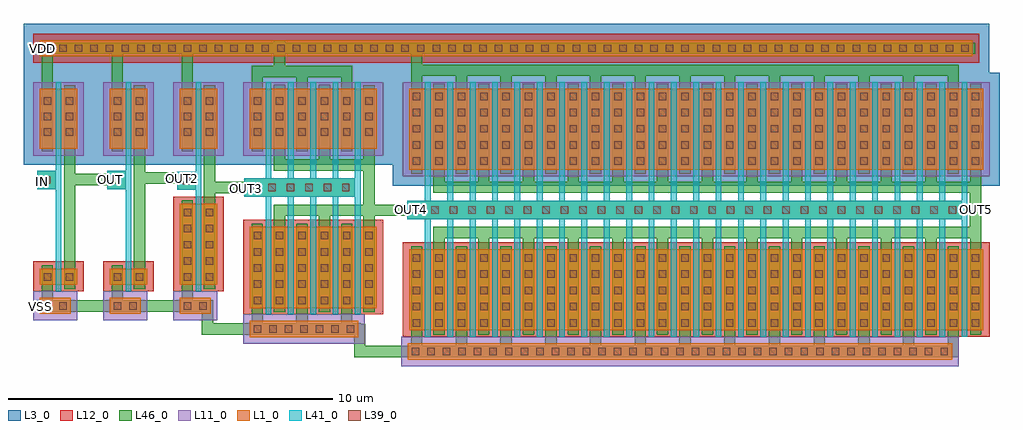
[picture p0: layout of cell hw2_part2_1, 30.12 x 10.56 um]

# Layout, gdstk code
from math import pi, radians
import gdstk
lib = gdstk.Library(unit=1e-6, precision=1e-09)
def R(c, l, rs):  # rectangles x0, y0, x1, y1
    for r in rs: c.add(gdstk.rectangle(r[:2], r[2:], *l))
def A(c, l, x, y, w, h, nx, ny, dx, dy):  # array of equal rectangles
    R(c, l, [(x+i*dx, y+j*dy, x+i*dx+w, y+j*dy+h) for i in range(nx) for j in range(ny)])
L1_0 = (1, 0)
L3_0 = (3, 0)
L11_0 = (11, 0)
L12_0 = (12, 0)
L39_0 = (39, 0)
L41_0 = (41, 0)
L46_0 = (46, 0)

nmos_body = lib.new_cell('nmos_body')
R(nmos_body, L1_0, [(-0.22,-0.185,0.26,0.315)])
R(nmos_body, L11_0, [(-0.42,-0.385,0.46,0.515)])
R(nmos_body, L39_0, [(-0.095,-0.05,0.135,0.18)])
R(nmos_body, L46_0, [(-0.348,-0.11,0.332,0.24)])

pmos_body = lib.new_cell('pmos_body')
R(pmos_body, L1_0, [(-0.305,-0.355,0.175,0.145)])
R(pmos_body, L3_0, [(-0.805,-0.855,0.675,0.645)])
R(pmos_body, L12_0, [(-0.505,-0.555,0.375,0.345)])
R(pmos_body, L39_0, [(-0.18,-0.22,0.05,0.01)])
R(pmos_body, L46_0, [(-0.433,-0.28,0.247,0.07)])

mental1_connect = lib.new_cell('mental1_connect')
R(mental1_connect, L46_0, [(0.875,-0.297,1.225,0.108), (-0.505,-0.292,-0.155,0.108), (-0.505,0.108,1.225,0.458)])

cont = lib.new_cell('CONT')
R(cont, L39_0, [(-0.12,-0.12,0.11,0.11)])
R(cont, L41_0, [(-0.29,-0.29,0.28,0.28)])
R(cont, L46_0, [(-0.29,-0.29,0.28,0.28)])

pmos_small = lib.new_cell('pmos_small')
R(pmos_small, L1_0, [(-0.57,-0.225,0.59,0.275)])
R(pmos_small, L3_0, [(-1.07,-0.725,1.09,0.775)])
R(pmos_small, L11_0, [(-0.77,-0.425,0.79,0.475)])
R(pmos_small, L39_0, [(-0.45,-0.075,-0.22,0.155), (0.24,-0.075,0.47,0.155)])
R(pmos_small, L41_0, [(-0.08,-1.49,0.1,0.475)])
R(pmos_small, L46_0, [(-0.51,-0.347,-0.16,0.428), (0.18,-0.342,0.53,0.423)])

pmos_1850n = lib.new_cell('pmos_1850n')
R(pmos_1850n, L1_0, [(-0.569,-0.995,0.591,0.855)])
R(pmos_1850n, L3_0, [(-1.069,-1.495,1.091,1.355)])
R(pmos_1850n, L11_0, [(-0.769,-1.215,0.791,1.055)])
A(pmos_1850n, L39_0, -0.449, -0.6, 0.23, 0.23, 1, 3, 0, 0.48)
A(pmos_1850n, L39_0, 0.241, -0.6, 0.23, 0.23, 1, 3, 0, 0.48)
R(pmos_1850n, L41_0, [(-0.079,-2.195,0.101,1.055)])
R(pmos_1850n, L46_0, [(-0.509,-1.08,-0.159,0.975), (0.181,-1.08,0.531,0.965)])

nmos_small = lib.new_cell('nmos_small')
R(nmos_small, L1_0, [(-3.8,0.175,-2.64,0.675)])
R(nmos_small, L12_0, [(-4,-0.045,-2.44,0.875)])
R(nmos_small, L39_0, [(-3.68,0.325,-3.45,0.555), (-2.99,0.325,-2.76,0.555)])
R(nmos_small, L41_0, [(-3.31,-1.025,-3.13,0.875)])
R(nmos_small, L46_0, [(-3.74,0.073,-3.39,0.808), (-3.05,0.073,-2.7,0.808)])

hw2_part2_1 = lib.new_cell('hw2_part2_1')
hw2_part2_1.add(gdstk.FlexPath([(-11.91,-1.7),(-11.91,-0.12)], 0.18, ends="flush", simple_path=True, layer=41, datatype=0))  # L41_0
hw2_part2_1.add(gdstk.FlexPath([(-14.07,-1.7),(-14.07,-0.12)], 0.18, ends="flush", simple_path=True, layer=41, datatype=0))  # L41_0
hw2_part2_1.add(gdstk.FlexPath([(-4.83,-0.435),(-4.83,-0.035)], 0.18, ends="flush", simple_path=True, layer=41, datatype=0))  # L41_0
hw2_part2_1.add(gdstk.FlexPath([(-11.565,-2.733),(-11.565,-0.968)], 0.35, ends="flush", simple_path=True, layer=46, datatype=0))  # L46_0
hw2_part2_1.add(gdstk.FlexPath([(-11.565,-1.663),(-11.565,0.102)], 0.35, ends="flush", simple_path=True, layer=46, datatype=0))  # L46_0
hw2_part2_1.add(gdstk.FlexPath([(-13.725,-2.78),(-13.725,-1.015)], 0.35, ends="flush", simple_path=True, layer=46, datatype=0))  # L46_0
hw2_part2_1.add(gdstk.FlexPath([(-13.725,-2.235),(-13.725,-0.47)], 0.35, ends="flush", simple_path=True, layer=46, datatype=0))  # L46_0
hw2_part2_1.add(gdstk.FlexPath([(-4.723,-5.304),(-3.108,-5.304)], 0.35, ends="flush", simple_path=True, layer=46, datatype=0))  # L46_0
hw2_part2_1.add(gdstk.FlexPath([(-4.775,-5.479),(-4.775,-4.446)], 0.35, ends="flush", simple_path=True, layer=46, datatype=0))  # L46_0
hw2_part2_1.add(gdstk.FlexPath([(-9.58,-4.612),(-8.09,-4.612)], 0.35, ends="flush", simple_path=True, layer=46, datatype=0))  # L46_0
hw2_part2_1.add(gdstk.FlexPath([(-9.473,-4.787),(-9.473,-3.72)], 0.35, ends="flush", simple_path=True, layer=46, datatype=0))  # L46_0
hw2_part2_1.add(gdstk.FlexPath([(-11.585,-3.895),(-10.375,-3.895)], 0.35, ends="flush", simple_path=True, layer=46, datatype=0))  # L46_0
hw2_part2_1.add(gdstk.FlexPath([(-13.725,-3.895),(-12.505,-3.895)], 0.35, ends="flush", simple_path=True, layer=46, datatype=0))  # L46_0
hw2_part2_1.add(gdstk.FlexPath([(-10.095,-4.075),(-10.095,-3.23)], 0.35, ends="flush", simple_path=True, layer=46, datatype=0))  # L46_0
hw2_part2_1.add(gdstk.FlexPath([(-12.255,-4.075),(-12.255,-3.23)], 0.35, ends="flush", simple_path=True, layer=46, datatype=0))  # L46_0
hw2_part2_1.add(gdstk.FlexPath([(-14.415,-4.075),(-14.415,-3.23)], 0.35, ends="flush", simple_path=True, layer=46, datatype=0))  # L46_0
hw2_part2_1.add(gdstk.FlexPath([(14.23,-1.58),(14.23,-0.33)], 0.35, ends="flush", simple_path=True, layer=46, datatype=0))  # L46_0
hw2_part2_1.add(gdstk.FlexPath([(-4.46,-0.945),(-2.99,-0.945)], 0.35, ends="flush", simple_path=True, layer=46, datatype=0))  # L46_0
hw2_part2_1.add(gdstk.FlexPath([(-4.485,-1.445),(-4.485,0.965)], 0.35, ends="flush", simple_path=True, layer=46, datatype=0))  # L46_0
hw2_part2_1.add(gdstk.FlexPath([(-9.375,-0.245),(-8.215,-0.245)], 0.35, ends="flush", simple_path=True, layer=46, datatype=0))  # L46_0
hw2_part2_1.add(gdstk.FlexPath([(-11.585,0.055),(-10.31,0.055)], 0.35, ends="flush", simple_path=True, layer=46, datatype=0))  # L46_0
hw2_part2_1.add(gdstk.FlexPath([(-13.745,0.005),(-12.4,0.005)], 0.35, ends="flush", simple_path=True, layer=46, datatype=0))  # L46_0
hw2_part2_1.add(gdstk.FlexPath([(-9.405,-0.78),(-9.405,0.985)], 0.35, ends="flush", simple_path=True, layer=46, datatype=0))  # L46_0
hw2_part2_1.add(gdstk.FlexPath([(-11.565,-0.78),(-11.565,0.985)], 0.35, ends="flush", simple_path=True, layer=46, datatype=0))  # L46_0
hw2_part2_1.add(gdstk.FlexPath([(-13.725,-0.78),(-13.725,0.985)], 0.35, ends="flush", simple_path=True, layer=46, datatype=0))  # L46_0
hw2_part2_1.add(gdstk.FlexPath([(-3.015,2.84),(-3.015,4.01)], 0.35, ends="flush", simple_path=True, layer=46, datatype=0))  # L46_0
hw2_part2_1.add(gdstk.FlexPath([(-7.245,3.165),(-7.245,4.303)], 0.35, ends="flush", simple_path=True, layer=46, datatype=0))  # L46_0
hw2_part2_1.add(gdstk.FlexPath([(-10.095,2.84),(-10.095,4.01)], 0.35, ends="flush", simple_path=True, layer=46, datatype=0))  # L46_0
hw2_part2_1.add(gdstk.FlexPath([(-12.255,2.84),(-12.255,4.01)], 0.35, ends="flush", simple_path=True, layer=46, datatype=0))  # L46_0
hw2_part2_1.add(gdstk.FlexPath([(-14.415,2.84),(-14.415,4.01)], 0.35, ends="flush", simple_path=True, layer=46, datatype=0))  # L46_0
r = gdstk.Reference(nmos_body, (-14.43,-3.96)); r.repetition = gdstk.Repetition(2, 1, v1=(0.48,0), v2=(0,0.5)); hw2_part2_1.add(r)
r = gdstk.Reference(nmos_body, (-12.27,-3.96)); r.repetition = gdstk.Repetition(2, 1, v1=(0.48,0), v2=(0,0.5)); hw2_part2_1.add(r)
r = gdstk.Reference(nmos_body, (-10.11,-3.96)); r.repetition = gdstk.Repetition(2, 1, v1=(0.48,0), v2=(0,0.5)); hw2_part2_1.add(r)
r = gdstk.Reference(nmos_body, (-7.952,-4.677)); r.repetition = gdstk.Repetition(7, 1, v1=(0.48,0), v2=(0,0.5)); hw2_part2_1.add(r)
r = gdstk.Reference(nmos_body, (-3.075,-5.369)); r.repetition = gdstk.Repetition(35, 1, v1=(0.48,0), v2=(0,0.5)); hw2_part2_1.add(r)
r = gdstk.Reference(pmos_body, (-14.345,4.16)); r.repetition = gdstk.Repetition(60, 1, v1=(0.48,0), v2=(0,0.5)); hw2_part2_1.add(r)
r = gdstk.Reference(mental1_connect, (13.905,0.046), rotation=pi); r.repetition = gdstk.Repetition(12, 1, v1=(-1.38,0), v2=(0,-0.75)); hw2_part2_1.add(r)
r = gdstk.Reference(mental1_connect, (-6.915,-1.228)); r.repetition = gdstk.Repetition(2, 1, v1=(1.38,0), v2=(0,0.75)); hw2_part2_1.add(r)
r = gdstk.Reference(mental1_connect, (-4.815,0.738), rotation=pi); r.repetition = gdstk.Repetition(2, 1, v1=(-1.38,0), v2=(0,-0.75)); hw2_part2_1.add(r)
r = gdstk.Reference(mental1_connect, (-7.605,3.057)); r.repetition = gdstk.Repetition(2, 1, v1=(1.38,0), v2=(0,0.75)); hw2_part2_1.add(r)
r = gdstk.Reference(mental1_connect, (-5.505,-4.329), rotation=pi); r.repetition = gdstk.Repetition(2, 1, v1=(-1.38,0), v2=(0,-0.75)); hw2_part2_1.add(r)
r = gdstk.Reference(mental1_connect, (-2.685,3.09)); r.repetition = gdstk.Repetition(12, 1, v1=(1.38,0), v2=(0,0.75)); hw2_part2_1.add(r)
r = gdstk.Reference(mental1_connect, (13.215,-5.021), rotation=pi); r.repetition = gdstk.Repetition(12, 1, v1=(-1.38,0), v2=(0,-0.75)); hw2_part2_1.add(r)
r = gdstk.Reference(mental1_connect, (-1.995,-1.92)); r.repetition = gdstk.Repetition(12, 1, v1=(1.38,0), v2=(0,0.75)); hw2_part2_1.add(r)
r = gdstk.Reference(cont, (-3.01,-0.932)); r.repetition = gdstk.Repetition(30, 1, v1=(0.57,0), v2=(0,0.57)); hw2_part2_1.add(r)
r = gdstk.Reference(cont, (-8.05,-0.24)); r.repetition = gdstk.Repetition(6, 1, v1=(0.57,0), v2=(0,0.57)); hw2_part2_1.add(r)
hw2_part2_1.add(gdstk.Reference(cont, (-14.44,-0.01)))
hw2_part2_1.add(gdstk.Reference(cont, (-12.28,-0.01)))
hw2_part2_1.add(gdstk.Reference(cont, (-10.12,-0.03)))
r = gdstk.Reference(pmos_small, (-2.68,0.53)); r.repetition = gdstk.Repetition(25, 5, v1=(0.69,0), v2=(0,0.5)); hw2_part2_1.add(r)
r = gdstk.Reference(pmos_1850n, (-7.601,1.95)); r.repetition = gdstk.Repetition(5, 1, v1=(0.69,0), v2=(0,1.85)); hw2_part2_1.add(r)
hw2_part2_1.add(gdstk.Reference(pmos_1850n, (-11.921,1.95)))
hw2_part2_1.add(gdstk.Reference(pmos_1850n, (-9.761,1.95)))
hw2_part2_1.add(gdstk.Reference(pmos_1850n, (-14.081,1.95)))
r = gdstk.Reference(nmos_small, (10.67,-1.979), rotation=pi); r.repetition = gdstk.Repetition(25, 5, v1=(-0.69,0), v2=(0,-0.5)); hw2_part2_1.add(r)
r = gdstk.Reference(nmos_small, (-8.05,-1.287), rotation=pi); r.repetition = gdstk.Repetition(5, 5, v1=(-0.69,0), v2=(0,-0.5)); hw2_part2_1.add(r)
r = gdstk.Reference(nmos_small, (-12.97,-0.57), rotation=pi); r.repetition = gdstk.Repetition(1, 5, v1=(-0.69,0), v2=(0,-0.5)); hw2_part2_1.add(r)
r = gdstk.Reference(nmos_small, (-17.29,-2.57), rotation=pi); r.repetition = gdstk.Repetition(1, 1, v1=(-0.69,0), v2=(0,-0.5)); hw2_part2_1.add(r)
r = gdstk.Reference(nmos_small, (-15.13,-2.57), rotation=pi); r.repetition = gdstk.Repetition(1, 1, v1=(-0.69,0), v2=(0,-0.5)); hw2_part2_1.add(r)
hw2_part2_1.add(gdstk.Label('OUT5', (14.275,-0.935), layer=101, texttype=0))
hw2_part2_1.add(gdstk.Label('OUT4', (-3.165,-0.92), layer=101, texttype=0))
hw2_part2_1.add(gdstk.Label('OUT3', (-8.275,-0.27), layer=101, texttype=0))
hw2_part2_1.add(gdstk.Label('OUT2', (-10.24,0.03), layer=101, texttype=0))
hw2_part2_1.add(gdstk.Label('OUT', (-12.475,0.015), layer=101, texttype=0))
hw2_part2_1.add(gdstk.Label('IN', (-14.555,-0.07), layer=101, texttype=0))
hw2_part2_1.add(gdstk.Label('VSS', (-14.61,-3.905), layer=101, texttype=0))
hw2_part2_1.add(gdstk.Label('VDD', (-14.555,4.06), layer=101, texttype=0))

lib.write_gds('hw2_part2_1.gds')
